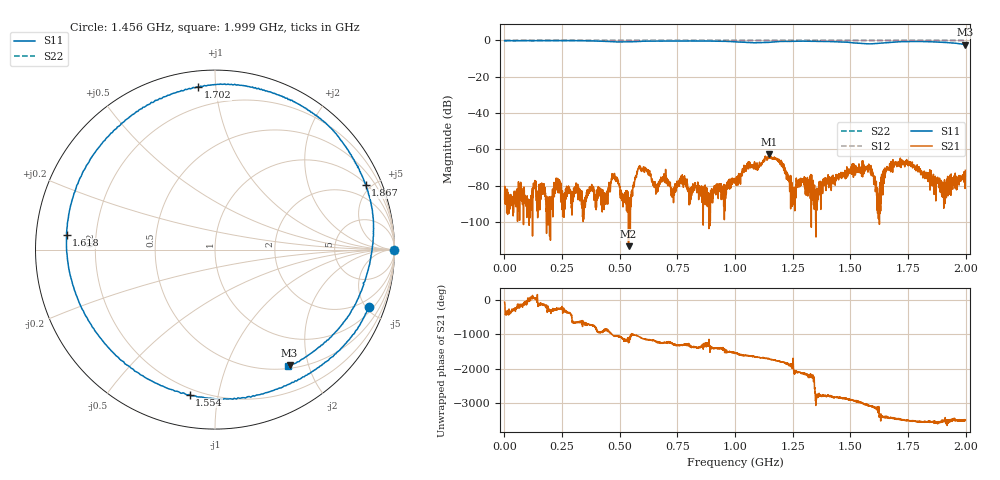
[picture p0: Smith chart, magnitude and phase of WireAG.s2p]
! Anritsu VNA Master:  Model: MS2025B
! SN:  1642059
! /bd0/PROE/TP1/WireAG.s2p
! Existing Calibration Information:
! TYPE:  Current Settings,  Active Cal Settings
! TIME:  04/16/2024 09:23:42 AM,  03/12/2018 11:45:53 AM
! INTERNAL TEMP:  43.3 C,  40.8 C
! # POINTS:  2857,  4001
! START FREQ:  1.000 MHz,  1.000 MHz
! STOP FREQ:  1.999 486 GHz,  2.800 GHz
! SOURCE POWER:  Default,  Default
! IFBW:  1 kHz,  1 kHz
! AVG FACTOR:  1 ,  1
! REF PLANE 1:  0 mm,  0 mm
! REF PLANE 2:  0 mm,  0 mm
! CAL TYPE:  1P2P S11,S21,  1P2P S11,S21
! CAL METHOD:  SOLT,  SOLT
! CAL LINE TYPE:  Coax,  Coax
! DUT PORT 1:  ,
! DUT PORT 2:  N-Conn(M),  N-Conn(M)
! CAL STATUS:  OK: Accuracy High,  --
# GHZ S MA R 50.0
! FREQ.GHZ  S11M  S11A  S21M  S21A  S12M  S12A  S22M  S22A
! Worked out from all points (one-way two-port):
!   2857 points, 1 MHz to 1.999 GHz, reference 50 ohm
!   highest |S21| = -62.72 dB at 1.149 GHz (marker M1); lowest = -113.3 dB at 538.4 MHz (marker M2)
!   lowest |S11| = -2.3 dB at 1.999 GHz (marker M3), VSWR 7.59, Z = 27.2 - j85.2 ohm
!   |S11| at or under -10 dB: nowhere
!   |S22| runs from 0.0 to 0.0 dB; largest |S21 - S12| = 1
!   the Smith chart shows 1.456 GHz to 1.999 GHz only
!   S11 on the Smith chart (normalised r, x): 1.456 GHz: 1.33, -5.22; 1.554 GHz: 0.17, -0.83; 1.618 GHz: 0.09, +0.05; 1.702 GHz: 0.09, +0.90; 1.867 GHz: 1.08, +4.64; 1.999 GHz: 0.53, -1.68
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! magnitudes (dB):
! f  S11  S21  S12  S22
! 1 MHz  -0.1  -87.3  0.0  0.0
! 334.1 MHz  -0.1  -86.8  0.0  0.0
! 450.9 MHz  -0.6  -81.0  0.0  0.0
! 473.3 MHz  -0.7  -74.0  0.0  0.0
! 538.4 MHz  -0.7  -113.3  0.0  0.0
! 588.8 MHz  -0.5  -70.1  0.0  0.0
! 667.2 MHz  -0.3  -81.3  0.0  0.0
! 1 GHz  -0.8  -75.9  0.0  0.0
! 1.058 GHz  -1.1  -70.3  0.0  0.0
! 1.149 GHz  -1.0  -62.7  0.0  0.0
! 1.196 GHz  -0.5  -68.3  0.0  0.0
! 1.254 GHz  -0.5  -85.1  0.0  0.0
! 1.333 GHz  -0.5  -80.0  0.0  0.0
! 1.456 GHz  -0.8  -75.4  0.0  0.0
! 1.554 GHz  -1.7  -66.3  0.0  0.0
! 1.587 GHz  -1.9  -70.1  0.0  0.0
! 1.618 GHz  -1.6  -81.2  0.0  0.0
! 1.666 GHz  -1.1  -70.5  0.0  0.0
! 1.702 GHz  -0.8  -69.5  0.0  0.0
! 1.867 GHz  -0.8  -78.4  0.0  0.0
! 1.999 GHz  -2.3  -77.4  0.0  0.0
! 1.999 GHz  -2.3  -71.6  0.0  0.0
